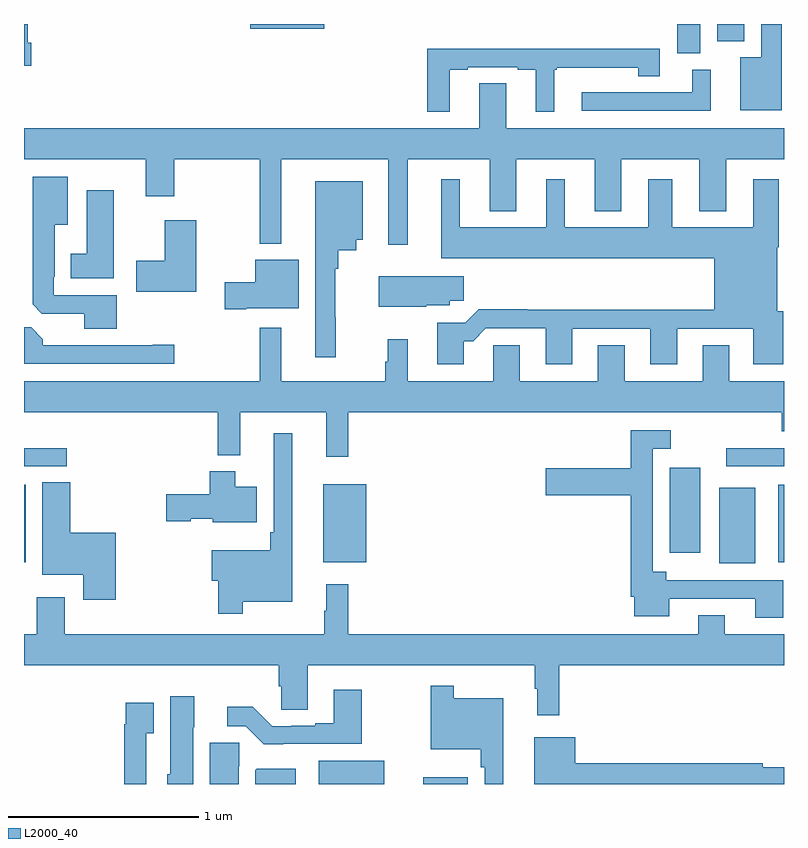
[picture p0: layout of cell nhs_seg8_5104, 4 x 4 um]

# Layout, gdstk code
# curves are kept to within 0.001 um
import gdstk
lib = gdstk.Library(unit=1e-6, precision=1e-09)
def R(c, l, rs):  # rectangles x0, y0, x1, y1
    for r in rs: c.add(gdstk.rectangle(r[:2], r[2:], *l))
def P(c, l, *ps):  # polygons
    for p in ps: c.add(gdstk.Polygon(p, *l))
L2000_40 = (2000, 40)

nhs_seg8_5104 = lib.new_cell('nhs_seg8_5104')
R(nhs_seg8_5104, L2000_40, [(420.551,1091.9,420.895,1092.022), (421.1,1091.9,421.336,1091.935), (422.66,1093.061,422.848,1093.459), (419,1093.067,419.008,1093.474), (420.575,1093.067,420.802,1093.477), (422.969,1093.067,423,1093.474), (422.399,1093.116,422.56,1093.564), (419,1093.572,419.224,1093.668), (422.697,1093.572,423,1093.668), (422.438,1095.745,422.56,1095.9), (422.648,1095.809,422.791,1095.9), (420.192,1095.875,420.58,1095.9)])
P(nhs_seg8_5104, L2000_40, [(419.039,1095.801),(419.021,1095.801),(419.021,1095.9),(419,1095.9),(419,1095.68),(419.039,1095.68)],
  [(422.989,1095.9),(422.88,1095.9),(422.88,1095.724),(422.771,1095.724),(422.771,1095.446),(422.989,1095.446)],
  [(421.24,1095.66),(421.336,1095.66),(421.336,1095.672),(421.598,1095.672),(421.598,1095.66),(421.694,1095.66),(421.694,1095.437),(421.792,1095.437),(421.792,1095.66),(421.804,1095.66),(421.804,1095.671),(422.234,1095.671),(422.234,1095.625),(422.347,1095.625),(422.347,1095.769),(421.123,1095.769),(421.123,1095.437),(421.24,1095.437)],
  [(422.614,1095.66),(422.516,1095.66),(422.516,1095.54),(421.935,1095.54),(421.935,1095.444),(422.614,1095.444)],
  [(421.021,1095.188),(421.451,1095.188),(421.451,1094.915),(421.591,1094.915),(421.591,1095.188),(422.003,1095.188),(422.003,1094.915),(422.143,1094.915),(422.143,1095.188),(422.555,1095.188),(422.555,1094.915),(422.695,1094.915),(422.695,1095.188),(423,1095.188),(423,1095.352),(421.537,1095.352),(421.537,1095.587),(421.397,1095.587),(421.397,1095.352),(419,1095.352),(419,1095.188),(419.642,1095.188),(419.642,1094.994),(419.79,1094.994),(419.79,1095.188),(420.241,1095.188),(420.241,1094.744),(420.355,1094.744),(420.355,1095.188),(420.917,1095.188),(420.917,1094.739),(421.021,1094.739)],
  [(419.488,1094.472),(419.157,1094.472),(419.157,1094.569),(419.161,1094.569),(419.161,1094.843),(419.23,1094.843),(419.23,1095.097),(419.045,1095.097),(419.045,1094.425),(419.094,1094.376),(419.318,1094.376),(419.318,1094.297),(419.488,1094.297)],
  [(421.315,1094.231),(421.364,1094.231),(421.431,1094.298),(421.745,1094.298),(421.745,1094.109),(421.885,1094.109),(421.885,1094.295),(422.297,1094.295),(422.297,1094.109),(422.437,1094.109),(422.437,1094.295),(422.837,1094.295),(422.837,1094.109),(422.997,1094.109),(422.997,1094.388),(422.965,1094.388),(422.965,1094.726),(422.973,1094.726),(422.973,1095.082),(422.837,1095.082),(422.837,1094.83),(422.413,1094.83),(422.413,1095.082),(422.285,1095.082),(422.285,1094.83),(421.846,1094.83),(421.846,1095.082),(421.748,1095.082),(421.748,1094.83),(421.294,1094.83),(421.294,1095.082),(421.196,1095.082),(421.196,1094.666),(422.633,1094.666),(422.633,1094.396),(421.649,1094.396),(421.649,1094.399),(421.394,1094.399),(421.323,1094.328),(421.175,1094.328),(421.175,1094.109),(421.315,1094.109)],
  [(420.64,1094.357),(420.637,1094.357),(420.637,1094.612),(420.655,1094.612),(420.655,1094.708),(420.748,1094.708),(420.748,1094.765),(420.784,1094.765),(420.784,1095.073),(420.533,1095.073),(420.533,1094.145),(420.64,1094.145)],
  [(419.473,1095.025),(419.33,1095.025),(419.33,1094.692),(419.246,1094.692),(419.246,1094.561),(419.473,1094.561)],
  [(419.907,1094.866),(419.741,1094.866),(419.741,1094.655),(419.592,1094.655),(419.592,1094.492),(419.907,1094.492)],
  [(420.169,1094.405),(420.445,1094.405),(420.445,1094.659),(420.218,1094.659),(420.218,1094.54),(420.057,1094.54),(420.057,1094.398),(420.169,1094.398)],
  [(421.116,1094.42),(421.242,1094.42),(421.242,1094.443),(421.315,1094.443),(421.315,1094.572),(420.866,1094.572),(420.866,1094.411),(421.116,1094.411)],
  [(419.791,1094.213),(419.678,1094.213),(419.678,1094.208),(419.099,1094.208),(419.099,1094.242),(419.037,1094.304),(419,1094.304),(419,1094.112),(419.791,1094.112)],
  [(420.707,1093.856),(422.987,1093.856),(422.987,1093.757),(423,1093.757),(423,1094.02),(422.713,1094.02),(422.713,1094.21),(422.573,1094.21),(422.573,1094.02),(422.161,1094.02),(422.161,1094.21),(422.021,1094.21),(422.021,1094.02),(421.609,1094.02),(421.609,1094.21),(421.47,1094.21),(421.47,1094.02),(421.021,1094.02),(421.021,1094.242),(420.915,1094.242),(420.915,1094.123),(420.9,1094.123),(420.9,1094.02),(420.355,1094.02),(420.355,1094.302),(420.241,1094.302),(420.241,1094.02),(419,1094.02),(419,1093.856),(420.019,1093.856),(420.019,1093.631),(420.137,1093.631),(420.137,1093.856),(420.59,1093.856),(420.59,1093.623),(420.707,1093.623)],
  [(422.997,1092.972),(422.38,1092.972),(422.38,1093.018),(422.31,1093.018),(422.31,1093.665),(422.404,1093.665),(422.404,1093.761),(422.194,1093.761),(422.194,1093.563),(421.746,1093.563),(421.746,1093.421),(422.194,1093.421),(422.194,1092.886),(422.213,1092.886),(422.213,1092.782),(422.395,1092.782),(422.395,1092.876),(422.849,1092.876),(422.849,1092.774),(422.997,1092.774)],
  [(420.151,1092.86),(420.412,1092.86),(420.412,1093.747),(420.315,1093.747),(420.315,1093.225),(420.295,1093.225),(420.295,1093.129),(419.988,1093.129),(419.988,1092.971),(420.022,1092.971),(420.022,1092.795),(420.151,1092.795)],
  [(420.226,1093.465),(420.112,1093.465),(420.112,1093.546),(419.978,1093.546),(419.978,1093.425),(419.748,1093.425),(419.748,1093.283),(419.877,1093.283),(419.877,1093.295),(419.994,1093.295),(419.994,1093.277),(420.226,1093.277)],
  [(419.483,1093.222),(419.243,1093.222),(419.243,1093.487),(419.096,1093.487),(419.096,1093.001),(419.312,1093.001),(419.312,1092.87),(419.483,1092.87)],
  [(421.817,1092.524),(423,1092.524),(423,1092.688),(422.689,1092.688),(422.689,1092.787),(422.549,1092.787),(422.549,1092.688),(420.707,1092.688),(420.707,1092.952),(420.59,1092.952),(420.59,1092.812),(420.579,1092.812),(420.579,1092.688),(419.215,1092.688),(419.215,1092.883),(419.068,1092.883),(419.068,1092.688),(419,1092.688),(419,1092.524),(420.341,1092.524),(420.341,1092.414),(420.354,1092.414),(420.354,1092.292),(420.493,1092.292),(420.493,1092.524),(421.689,1092.524),(421.689,1092.401),(421.7,1092.401),(421.7,1092.261),(421.817,1092.261)],
  [(421.522,1092.352),(421.261,1092.352),(421.261,1092.418),(421.14,1092.418),(421.14,1092.083),(421.405,1092.083),(421.405,1091.987),(421.425,1091.987),(421.425,1091.9),(421.522,1091.9)],
  [(420.364,1092.111),(420.777,1092.111),(420.777,1092.397),(420.629,1092.397),(420.629,1092.22),(420.533,1092.22),(420.533,1092.207),(420.406,1092.207),(420.406,1092.204),(420.306,1092.204),(420.204,1092.307),(420.069,1092.307),(420.069,1092.204),(420.168,1092.204),(420.263,1092.11)],
  [(419.89,1092.198),(419.896,1092.198),(419.896,1092.361),(419.771,1092.361),(419.771,1091.952),(419.753,1091.952),(419.753,1091.9),(419.89,1091.9)],
  [(419.643,1092.167),(419.683,1092.167),(419.683,1092.328),(419.535,1092.328),(419.535,1092.215),(419.527,1092.215),(419.527,1091.9),(419.643,1091.9)],
  [(423,1091.988),(422.888,1091.988),(422.888,1092.008),(421.9,1092.008),(421.9,1092.145),(421.685,1092.145),(421.685,1091.9),(423,1091.9)],
  [(420.13,1091.994),(420.134,1091.994),(420.134,1092.117),(419.978,1092.117),(419.978,1091.9),(420.13,1091.9)],
  [(420.43,1091.98),(420.226,1091.98),(420.218,1091.972),(420.218,1091.9),(420.43,1091.9)])

lib.write_gds('nhs_seg8_5104.gds')
